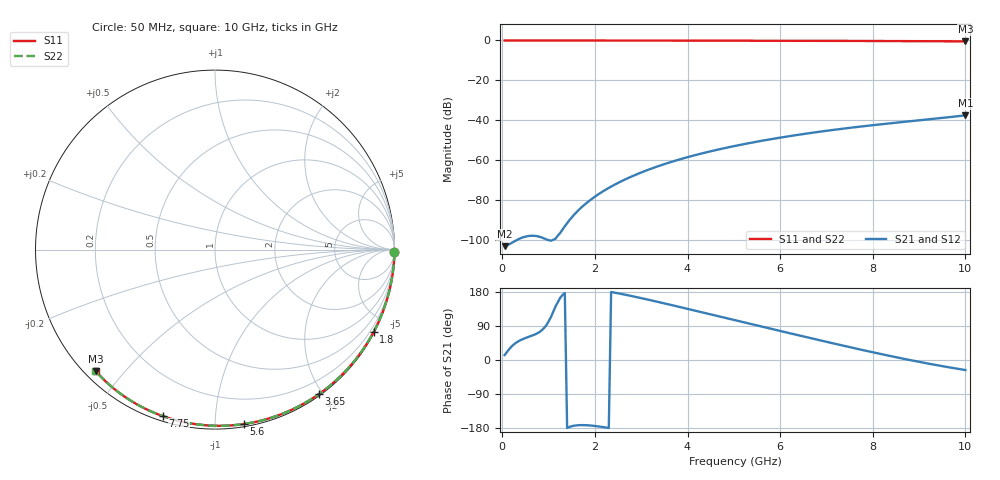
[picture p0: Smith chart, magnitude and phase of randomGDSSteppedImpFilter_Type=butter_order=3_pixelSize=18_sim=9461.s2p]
! freq	dB(S11)	phase(S11)	dB(S12)	phase(S12)
!  dB(S21)	phase(S21)	dB(S22)	phase(S22)
!S-par simulation data
#  GHz  S  DB  R 50
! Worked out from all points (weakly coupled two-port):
!   200 points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, 50 MHz to 10 GHz, reference 50 ohm
!   highest |S21| = -37.51 dB at 10 GHz (marker M1); lowest = -103.1 dB at 50 MHz (marker M2)
!   lowest |S11| = -0.5 dB at 10 GHz (marker M3), VSWR 37.92, Z = 1.55 - j20.9 ohm
!   |S11| at or under -10 dB: nowhere
!   |S22| runs from -0.5 to 0.0 dB; largest |S21 - S12| = 0
!   S11 on the Smith chart (normalised r, x): 50 MHz: open; 1.8 GHz: 0.04, -4.10; 3.65 GHz: 0.02, -1.95; 5.6 GHz: 0.02, -1.18; 7.75 GHz: 0.02, -0.73; 10 GHz: 0.03, -0.42
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0.05  -0.00 -0.8  -103.05 13.1  -103.05 13.1  -0.00 -0.8
0.45  -0.01 -7.0  -98.61 55.5  -98.61 55.5  -0.01 -7.0
0.9  -0.02 -13.8  -99.17 84.3  -99.17 84.3  -0.02 -13.8
1.75  -0.03 -26.6  -82.77 -171.8  -82.77 -171.8  -0.03 -26.6
1.8  -0.03 -27.4  -81.78 -172.0  -81.78 -172.0  -0.03 -27.4
1.9  -0.04 -28.9  -79.94 -172.8  -79.94 -172.8  -0.04 -28.9
2.05  -0.04 -31.1  -77.44 -174.8  -77.44 -174.8  -0.04 -31.1
2.25  -0.04 -34.1  -74.51 -178.4  -74.51 -178.4  -0.04 -34.1
2.45  -0.05 -37.0  -71.94 177.2  -71.94 177.2  -0.05 -37.0
2.65  -0.05 -39.9  -69.64 172.4  -69.64 172.4  -0.05 -39.9
3  -0.06 -45.0  -66.13 163.3  -66.13 163.3  -0.06 -45.0
3.4  -0.07 -50.7  -62.71 152.3  -62.71 152.3  -0.07 -50.7
3.65  -0.07 -54.2  -60.84 145.1  -60.84 145.1  -0.07 -54.3
4.3  -0.09 -63.3  -56.64 126.2  -56.64 126.2  -0.09 -63.3
5.05  -0.11 -73.4  -52.71 104.3  -52.71 104.3  -0.11 -73.4
5.6  -0.13 -80.6  -50.27 88.3  -50.27 88.3  -0.13 -80.6
6.15  -0.15 -87.7  -48.12 72.3  -48.12 72.3  -0.15 -87.7
6.7  -0.18 -94.6  -46.21 56.5  -46.21 56.5  -0.18 -94.6
7.75  -0.25 -107.5  -43.10 27.1  -43.10 27.1  -0.25 -107.5
8.35  -0.29 -114.6  -41.57 11.2  -41.57 11.2  -0.29 -114.7
9.2  -0.36 -124.8  -39.53 -9.5  -39.53 -9.5  -0.37 -124.8
10  -0.46 -134.5  -37.51 -26.4  -37.51 -26.4  -0.46 -134.6
